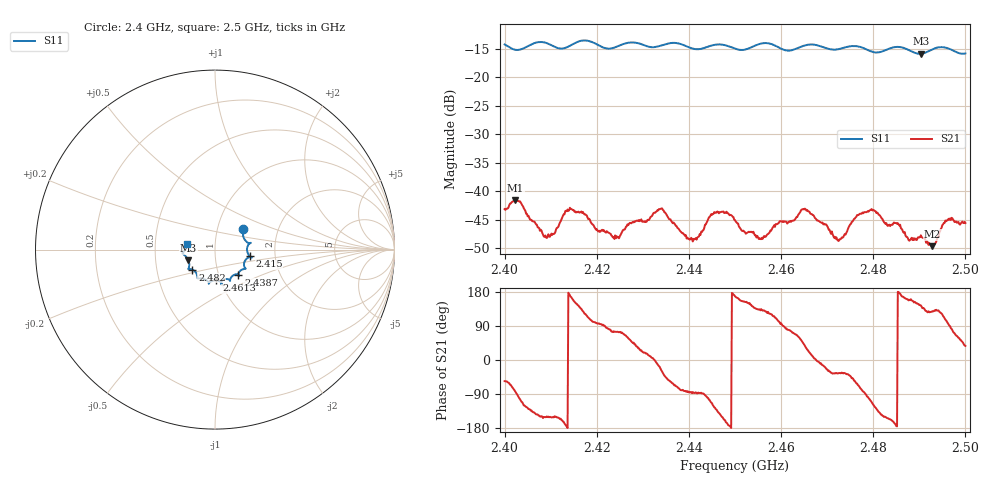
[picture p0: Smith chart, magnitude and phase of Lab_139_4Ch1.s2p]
# Hz S RI R 50
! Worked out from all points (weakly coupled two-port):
!   601 points, 2.4 GHz to 2.5 GHz, reference 50 ohm
!   highest |S21| = -41.56 dB at 2.4023 GHz (marker M1); lowest = -49.6 dB at 2.4928 GHz (marker M2)
!   lowest |S11| = -15.9 dB at 2.4903 GHz (marker M3), VSWR 1.38, Z = 36.8 - j4.43 ohm
!   |S11| at or under -10 dB: start of sweep to end of sweep
!   S12 and S22 are empty: the file has one direction only
!   S11 on the Smith chart (normalised r, x): 2.4 GHz: 1.33, +0.31; 2.415 GHz: 1.47, -0.11; 2.4387 GHz: 1.24, -0.36; 2.4613 GHz: 0.96, -0.34; 2.482 GHz: 0.76, -0.17; 2.5 GHz: 0.73, +0.05
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2.4e9  0.1576 0.1125  0.00393 -0.00578  0 0  0 0
2.402333e9  0.1574 0.0732  0.000903 -0.00831  0 0  0 0
2.408833e9  0.1973 0.0374  -0.00358 -0.00201  0 0  0 0
2.415e9  0.193 -0.0364  -0.00627 0.00279  0 0  0 0
2.416667e9  0.2041 -0.0443  -0.00468 0.00474  0 0  0 0
2.424333e9  0.162 -0.0895  0.00109 0.00389  0 0  0 0
2.433333e9  0.1317 -0.1315  0.0066 -0.00161  0 0  0 0
2.438667e9  0.1307 -0.1412  0.000842 -0.00423  0 0  0 0
2.441667e9  0.1026 -0.1429  0.000165 -0.00377  0 0  0 0
2.445833e9  0.0836 -0.1738  -0.00417 -0.00503  0 0  0 0
2.45e9  0.0687 -0.1644  -0.00547 0.00115  0 0  0 0
2.4555e9  0.0354 -0.193  -0.00251 0.00289  0 0  0 0
2.461333e9  0.00789 -0.1711  0.000901 0.00514  0 0  0 0
2.466667e9  -0.0346 -0.1903  0.00618 0.00133  0 0  0 0
2.472333e9  -0.0704 -0.1608  0.00301 -0.00215  0 0  0 0
2.477167e9  -0.0973 -0.1565  0.00176 -0.00612  0 0  0 0
2.482e9  -0.1263 -0.1114  -0.00479 -0.00311  0 0  0 0
2.483333e9  -0.1399 -0.1085  -0.00458 -0.00217  0 0  0 0
2.490333e9  -0.1492 -0.0587  -0.00333 0.00242  0 0  0 0
2.492833e9  -0.1732 -0.0276  -0.00208 0.00257  0 0  0 0
2.496167e9  -0.1786 -0.0163  -0.000735 0.00554  0 0  0 0
2.5e9  -0.1582 0.0326  0.00421 0.00319  0 0  0 0
